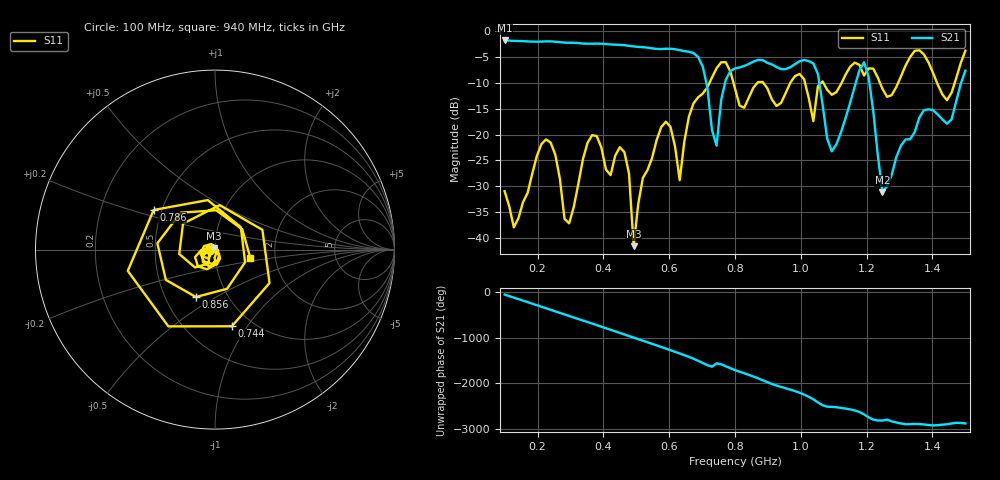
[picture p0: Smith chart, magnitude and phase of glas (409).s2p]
! NanoVNA-App
! Date: 2025-09-25 15:58:39
! Start: 100MHz Stop: 1,5GHz Points: 101
! S-Parameter data: F S11 S21 S12 S22
# Hz S RI R 50
!  Frequency  S11_Real  S11_Imag  S21_Real  S21_Imag  S12_Real  S12_Imag  S22_Real  S22_Imag
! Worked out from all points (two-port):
!   101 points, 100 MHz to 1.5 GHz, reference 50 ohm
!   highest |S21| = -1.80 dB at 100 MHz (marker M1); lowest = -31.2 dB at 1.248 GHz (marker M2)
!   |S21| within 3 dB of the highest: start of sweep to 684.4 MHz
!   lowest |S11| = -41.6 dB at 492 MHz (marker M3), VSWR 1.02, Z = 49.5 + j0.639 ohm
!   |S11| at or under -10 dB: start of sweep to 722.4 MHz; 795.3 MHz to 868 MHz (72.67 MHz wide, 8.74 % of centre); 886.1 MHz to 967.8 MHz (81.66 MHz wide, 8.81 % of centre) (the widest 3 of 7)
!   S12 and S22 are empty: the file has one direction only
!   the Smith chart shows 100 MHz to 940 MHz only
!   S11 on the Smith chart (normalised r, x): 100 MHz: 0.95, -0.01; 744 MHz: 0.81, -0.85; 786 MHz: 0.45, +0.24; 856 MHz: 0.71, -0.41; 940 MHz: 1.48, -0.15
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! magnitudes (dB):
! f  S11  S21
! 100 MHz  -30.9  -1.8
! 128 MHz  -37.9  -1.9
! 226 MHz  -20.9  -2.0
! 296 MHz  -37.2  -2.2
! 338 MHz  -24.7  -2.4
! 464 MHz  -23.4  -2.7
! 492 MHz  -41.6  -3.0
! 576 MHz  -18.5  -3.5
! 632 MHz  -28.8  -3.7
! 702 MHz  -12.1  -6.8
! 744 MHz  -7.2  -22.1
! 786 MHz  -7.8  -7.7
! 800 MHz  -11.1  -7.2
! 856 MHz  -10.9  -5.9
! 940 MHz  -13.9  -7.4
! 996 MHz  -8.3  -5.8
! 1.038 GHz  -17.4  -6.2
! 1.094 GHz  -12.3  -23.2
! 1.192 GHz  -8.6  -6.0
! 1.248 GHz  -11.2  -31.2
! 1.276 GHz  -12.4  -27.8
! 1.5 GHz  -3.8  -7.6
